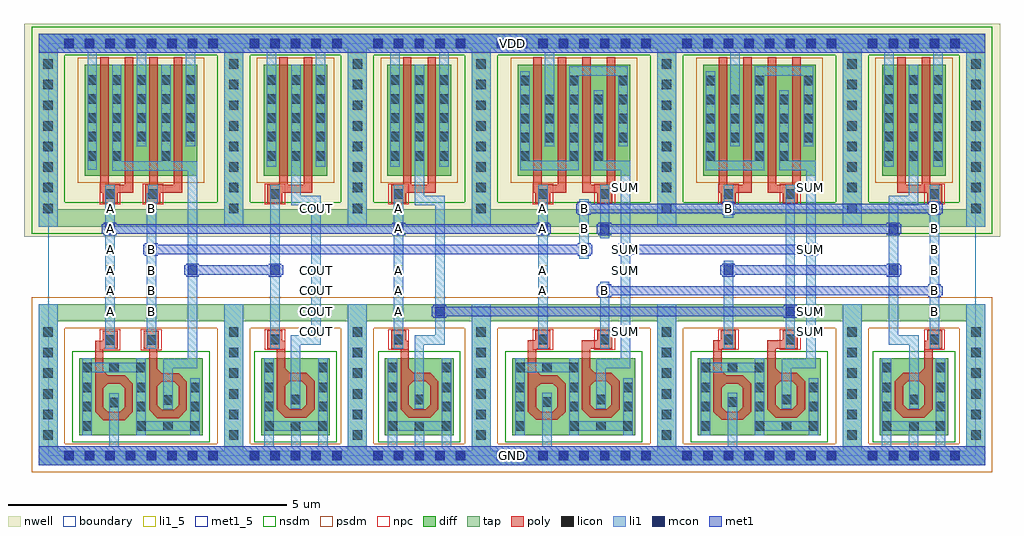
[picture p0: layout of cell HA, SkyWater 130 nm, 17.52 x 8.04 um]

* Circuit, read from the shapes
.subckt HA A B COUT GND SUM VDD
XM1 n1 A GND GND sky130_fd_pr__nfet_01v8 w=2.6 l=0.1468
XM2 n1 B n2 GND sky130_fd_pr__nfet_01v8 w=2.56 l=0.148
XM3 GND n2 COUT GND sky130_fd_pr__nfet_01v8 w=2.56 l=0.1475
XM4 GND A n3 GND sky130_fd_pr__nfet_01v8 w=2.56 l=0.1466
XM5 n4 A GND GND sky130_fd_pr__nfet_01v8 w=2.6 l=0.1471
XM6 n4 B SUM GND sky130_fd_pr__nfet_01v8 w=2.56 l=0.1478
XM7 n5 n6 GND GND sky130_fd_pr__nfet_01v8 w=2.6 l=0.148
XM8 n5 n3 SUM GND sky130_fd_pr__nfet_01v8 w=2.56 l=0.1468
XM9 GND B n6 GND sky130_fd_pr__nfet_01v8 w=2.56 l=0.1469
XM10 n2 A VDD VDD sky130_fd_pr__pfet_01v8 w=2 l=0.15 m=2
XM11 n2 B VDD VDD sky130_fd_pr__pfet_01v8 w=2 l=0.15 m=2
XM12 COUT n2 VDD VDD sky130_fd_pr__pfet_01v8 w=2 l=0.15 m=2
XM13 n3 A VDD VDD sky130_fd_pr__pfet_01v8 w=2 l=0.15 m=2
XM14 VDD A n7 VDD sky130_fd_pr__pfet_01v8 w=2 l=0.15 m=2
XM15 SUM n6 n7 VDD sky130_fd_pr__pfet_01v8 w=2 l=0.15 m=2
XM16 VDD B n8 VDD sky130_fd_pr__pfet_01v8 w=2 l=0.15 m=2
XM17 SUM n3 n8 VDD sky130_fd_pr__pfet_01v8 w=2 l=0.15 m=2
XM18 n6 B VDD VDD sky130_fd_pr__pfet_01v8 w=2 l=0.15 m=2
.ends

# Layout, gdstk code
from math import pi, radians
import gdstk
lib = gdstk.Library(unit=1e-6, precision=1e-09)
def R(c, l, rs):  # rectangles x0, y0, x1, y1
    for r in rs: c.add(gdstk.rectangle(r[:2], r[2:], *l))
def A(c, l, x, y, w, h, nx, ny, dx, dy):  # array of equal rectangles
    R(c, l, [(x+i*dx, y+j*dy, x+i*dx+w, y+j*dy+h) for i in range(nx) for j in range(ny)])
def P(c, l, *ps):  # polygons
    for p in ps: c.add(gdstk.Polygon(p, *l))
nwell = (64, 20)
diff = (65, 20)
tap = (65, 44)
poly = (66, 20)
licon = (66, 44)
li1_5 = (67, 5)
li1 = (67, 20)
mcon = (67, 44)
met1_5 = (68, 5)
met1 = (68, 20)
nsdm = (93, 44)
psdm = (94, 20)
npc = (95, 20)
boundary = (235, 4)

diff_ring_side = lib.new_cell('diff_ring_side')
R(diff_ring_side, nwell, [(-0.435,3.93,0.435,7.75)])
R(diff_ring_side, tap, [(-0.17,-0.17,0.17,2.72), (-0.17,4.11,0.17,7.57)])
A(diff_ring_side, licon, -0.085, 0.285, 0.17, 0.17, 1, 6, 0, 0.37)
A(diff_ring_side, licon, -0.085, 4.355, 0.17, 0.17, 1, 8, 0, 0.37)
R(diff_ring_side, li1, [(-0.17,-0.17,0.17,2.72), (-0.17,4.11,0.17,7.57)])
R(diff_ring_side, met1, [(-0.17,-0.17,0.17,0.17), (-0.17,7.23,0.17,7.57)])
R(diff_ring_side, nsdm, [(-0.295,3.985,0.295,7.695)])
R(diff_ring_side, psdm, [(-0.295,-0.295,0.295,2.845)])

poly_li1_contact = lib.new_cell('poly_li1_contact')
R(poly_li1_contact, poly, [(-0.16,-0.14,0.17,0.13)])
R(poly_li1_contact, licon, [(-0.08,-0.09,0.09,0.08)])
R(poly_li1_contact, li1, [(-0.16,-0.09,0.17,0.08)])
R(poly_li1_contact, npc, [(-0.18,-0.19,0.19,0.18)])

pmos2 = lib.new_cell('pmos2')
R(pmos2, nwell, [(0.26,-2.18,1.76,0.18)])
R(pmos2, diff, [(0.44,-2,1.58,0)])
R(pmos2, poly, [(0.72,-2.305,1.31,-2.155), (0.72,-2.155,0.87,0.13), (1.16,-2.155,1.31,0.13)])
A(pmos2, licon, 0.49, -1.38, 0.17, 0.17, 3, 4, 0.44, 0.34)
R(pmos2, li1, [(0.49,-1.465,0.66,0.21), (0.93,-1.465,1.1,0), (1.37,-1.465,1.54,0.21)])
R(pmos2, psdm, [(0.315,-2.125,1.705,0.125)])

nmos_top = lib.new_cell('nmos_top')
R(nmos_top, diff, [(0,0,1.23,1.38)])
R(nmos_top, poly, [(0.42,0.31,0.8,0.46), (0.27,0.46,0.42,0.965), (0.8,0.46,0.95,0.965), (0.42,0.965,0.95,1.115), (0.8,1.115,0.95,1.54)])
P(nmos_top, poly, [(0.72,1.115),(0.8,1.115),(0.8,1.195)],
  [(0.27,0.965),(0.42,0.965),(0.42,1.115)],
  [(0.42,0.885),(0.42,0.965),(0.5,0.965)],
  [(0.72,0.965),(0.8,0.965),(0.8,0.885)],
  [(0.42,0.54),(0.42,0.46),(0.5,0.46)],
  [(0.72,0.46),(0.8,0.46),(0.8,0.54)],
  [(0.27,0.46),(0.42,0.46),(0.42,0.31)],
  [(0.8,0.31),(0.8,0.46),(0.95,0.46)])
R(nmos_top, licon, [(0.04,0.08,0.21,0.25), (0.53,0.08,0.7,0.25), (1.01,0.08,1.18,0.25), (0.04,0.43,0.21,0.6), (1.01,0.43,1.18,0.6), (0.53,0.55,0.7,0.72), (0.04,0.77,0.21,0.94), (1.01,0.77,1.18,0.94), (0.04,1.13,0.21,1.3), (1.01,1.13,1.18,1.3)])
R(nmos_top, li1, [(0.04,0,0.21,0.08), (1.01,0,1.18,0.08), (0.04,0.08,1.18,0.25), (0.04,0.25,0.21,1.38), (1.01,0.25,1.18,1.38), (0.53,0.47,0.7,0.805)])
R(nmos_top, nsdm, [(-0.125,-0.125,1.355,1.505)])

invx1_pcell = lib.new_cell('invx1_pcell')
R(invx1_pcell, nwell, [(-0.435,3.93,2.655,7.75)])
A(invx1_pcell, diff, 0.59, 5.295, 0.17, 0.17, 3, 1, 0.44, 0)
R(invx1_pcell, tap, [(0.17,-0.17,2.05,0.085), (0.17,2.41,2.05,2.72), (0.17,4.11,2.05,4.42), (0.17,7.315,2.05,7.57)])
R(invx1_pcell, poly, [(0.775,1.905,0.925,2.065)])
A(invx1_pcell, licon, 0.285, -0.085, 0.17, 0.17, 5, 2, 0.37, 7.4)
A(invx1_pcell, licon, 0.59, 5.295, 0.17, 0.17, 3, 1, 0.44, 0)
R(invx1_pcell, li1, [(0.17,-0.17,2.05,0.17), (0.545,0.17,0.715,0.45), (1.03,0.17,1.2,0.455), (1.515,0.17,1.685,0.45), (1.025,1.165,1.195,1.995), (1.025,1.995,1.565,2.165), (1.395,2.165,1.565,4.495), (0.655,2.245,0.825,4.54), (1.03,4.495,1.565,4.665), (1.03,4.665,1.2,5.555), (0.59,5.185,0.76,5.555), (1.47,5.185,1.64,5.555), (0.17,7.23,2.05,7.57)])
A(invx1_pcell, mcon, 0.285, -0.085, 0.17, 0.17, 5, 2, 0.37, 7.4)
R(invx1_pcell, met1, [(0.17,-0.17,2.05,0.17), (0.17,7.23,2.05,7.57)])
R(invx1_pcell, nsdm, [(0.045,3.985,2.175,4.545), (0.045,7.19,2.175,7.695)])
R(invx1_pcell, psdm, [(0.045,-0.295,2.175,0.21), (0.045,2.285,2.175,2.845), (0.465,5.17,1.765,5.59)])
invx1_pcell.add(gdstk.Reference(poly_li1_contact, (0.735,2.08), rotation=pi/2))
invx1_pcell.add(gdstk.Reference(poly_li1_contact, (0.745,4.705), rotation=3*pi/2))
invx1_pcell.add(gdstk.Reference(pmos2, (0.1,7.02)))
invx1_pcell.add(gdstk.Reference(nmos_top, (1.725,0.37), rotation=pi, x_reflection=True))
invx1_pcell.add(gdstk.Reference(diff_ring_side, (0,0)))
invx1_pcell.add(gdstk.Reference(diff_ring_side, (2.22,0)))

li1_m1_contact = lib.new_cell('li1_M1_contact')
R(li1_m1_contact, li1, [(-0.085,-0.165,0.085,0.165)])
R(li1_m1_contact, mcon, [(-0.085,-0.085,0.085,0.085)])
R(li1_m1_contact, met1, [(-0.115,-0.115,0.115,-0.085), (-0.265,-0.085,0.145,0.085), (-0.115,0.085,0.115,0.115)])

pmos2_1 = lib.new_cell('pmos2_1')
R(pmos2_1, nwell, [(0.26,-2.175,1.76,0.185)])
R(pmos2_1, diff, [(0.44,-1.995,1.58,0.005)])
R(pmos2_1, poly, [(0.72,-2.3,1.31,-2.15), (0.72,-2.15,0.87,0.135), (1.16,-2.15,1.31,0.135)])
A(pmos2_1, licon, 0.49, -1.385, 0.17, 0.17, 3, 3, 0.44, 0.34)
A(pmos2_1, li1, 0.49, -1.465, 0.17, 1.01, 3, 1, 0.44, 0)
R(pmos2_1, psdm, [(0.315,-2.12,1.705,0.13)])

nmos_top_trim1 = lib.new_cell('nmos_top_trim1')
R(nmos_top_trim1, diff, [(0,0,1.24,1.38)])
R(nmos_top_trim1, poly, [(0.43,0.31,0.81,0.46), (0.28,0.46,0.43,0.965), (0.81,0.46,0.96,0.965), (0.43,0.965,0.96,1.115), (0.81,1.115,0.96,1.545)])
P(nmos_top_trim1, poly, [(0.73,1.115),(0.81,1.115),(0.81,1.195)],
  [(0.28,0.965),(0.43,0.965),(0.43,1.115)],
  [(0.43,0.885),(0.43,0.965),(0.51,0.965)],
  [(0.73,0.965),(0.81,0.965),(0.81,0.885)],
  [(0.43,0.54),(0.43,0.46),(0.51,0.46)],
  [(0.73,0.46),(0.81,0.46),(0.81,0.54)],
  [(0.28,0.46),(0.43,0.46),(0.43,0.31)],
  [(0.81,0.31),(0.81,0.46),(0.96,0.46)])
A(nmos_top_trim1, licon, 0.05, 0.08, 0.17, 0.17, 3, 1, 0.485, 0)
R(nmos_top_trim1, licon, [(0.05,0.43,0.22,0.6), (1.02,0.43,1.19,0.6), (0.535,0.55,0.705,0.72), (0.05,0.77,0.22,0.94), (1.02,0.77,1.19,0.94), (1.02,1.13,1.19,1.3)])
R(nmos_top_trim1, li1, [(0.05,0,0.22,0.08), (1.02,0,1.19,0.08), (0.05,0.08,1.19,0.25), (0.05,0.25,0.22,1.02), (1.02,0.25,1.19,1.38), (0.535,0.47,0.705,0.805)])
R(nmos_top_trim1, nsdm, [(-0.125,-0.125,1.365,1.505)])

nmos_bottom = lib.new_cell('nmos_bottom')
R(nmos_bottom, diff, [(0,0,1.24,1.38)])
R(nmos_bottom, poly, [(0.43,0.27,0.81,0.42), (0.28,0.42,0.43,0.925), (0.81,0.42,0.96,0.925), (0.43,0.925,0.96,1.075), (0.81,1.075,0.96,1.51)])
P(nmos_bottom, poly, [(0.73,1.075),(0.81,1.075),(0.81,1.155)],
  [(0.28,0.925),(0.43,0.925),(0.43,1.075)],
  [(0.43,0.845),(0.43,0.925),(0.51,0.925)],
  [(0.73,0.925),(0.81,0.925),(0.81,0.845)],
  [(0.43,0.5),(0.43,0.42),(0.51,0.42)],
  [(0.73,0.42),(0.81,0.42),(0.81,0.5)],
  [(0.28,0.42),(0.43,0.42),(0.43,0.27)],
  [(0.81,0.27),(0.81,0.42),(0.96,0.42)])
A(nmos_bottom, licon, 0.05, 1.13, 0.17, 0.17, 3, 1, 0.485, 0)
R(nmos_bottom, licon, [(0.05,0.08,0.22,0.25), (1.02,0.08,1.19,0.25), (0.05,0.43,0.22,0.6), (1.02,0.43,1.19,0.6), (0.535,0.505,0.705,0.675), (0.05,0.77,0.22,0.94), (1.02,0.77,1.19,0.94)])
R(nmos_bottom, li1, [(0.05,0,0.22,1.13), (1.02,0,1.19,1.13), (0.535,0.425,0.705,0.755), (0.05,1.13,1.19,1.3), (0.05,1.3,0.22,1.38), (1.02,1.3,1.19,1.38)])
R(nmos_bottom, nsdm, [(-0.125,-0.125,1.365,1.505)])

xor2x1_pcell = lib.new_cell('xor2X1_pcell')
R(xor2x1_pcell, nwell, [(2.655,3.93,8.445,4.125), (2.64,4.125,5.13,4.84), (5.97,4.125,8.46,4.84), (2.64,4.84,2.695,7.195), (5.075,4.84,5.13,7.195), (5.97,4.84,6.025,7.2), (8.405,4.84,8.46,7.2), (2.925,6.65,3.095,6.82), (2.64,7.195,5.13,7.23), (5.97,7.2,8.46,7.23), (2.39,7.23,5.38,7.245), (5.72,7.23,8.71,7.245), (2.39,7.245,5.395,7.315), (5.705,7.245,8.71,7.315), (2.39,7.315,8.71,7.57), (2.64,7.57,5.13,7.66), (5.97,7.57,8.46,7.66), (2.655,7.66,8.445,7.75)])
A(xor2x1_pcell, diff, 2.925, 6.65, 0.17, 0.17, 3, 1, 0.88, 0)
A(xor2x1_pcell, diff, 6.255, 6.65, 0.17, 0.17, 3, 1, 0.88, 0)
R(xor2x1_pcell, diff, [(2.925,5.29,3.095,5.46), (3.805,5.29,3.975,5.46), (4.245,5.29,4.415,5.46), (6.255,5.29,6.425,5.46), (7.135,5.29,7.305,5.46), (7.575,5.29,7.745,5.46)])
R(xor2x1_pcell, tap, [(2.39,-0.17,5.38,-0.085), (5.72,-0.17,8.71,-0.085), (2.39,-0.085,5.395,0.085), (5.705,-0.085,8.71,0.085), (2.39,2.41,5.395,2.72), (5.705,2.41,8.71,2.72), (2.39,4.11,5.395,4.42), (5.705,4.11,8.71,4.42), (2.39,7.315,8.71,7.57)])
R(xor2x1_pcell, poly, [(3.06,1.88,3.21,1.92), (6.39,1.88,6.54,1.92), (4.03,1.915,4.18,1.92), (7.36,1.915,7.51,1.92), (3.06,1.92,3.195,2.07), (4.03,1.92,4.305,2.07), (6.39,1.92,6.525,2.07), (7.36,1.92,7.635,2.07)])
A(xor2x1_pcell, licon, 2.505, -0.085, 0.17, 0.17, 8, 2, 0.37, 7.4)
A(xor2x1_pcell, licon, 5.835, -0.085, 0.17, 0.17, 8, 2, 0.37, 7.4)
A(xor2x1_pcell, licon, 2.925, 6.65, 0.17, 0.17, 3, 1, 0.88, 0)
A(xor2x1_pcell, licon, 6.255, 6.65, 0.17, 0.17, 3, 1, 0.88, 0)
R(xor2x1_pcell, licon, [(2.925,5.29,3.095,5.46), (3.805,5.29,3.975,5.46), (4.245,5.29,4.415,5.46), (6.255,5.29,6.425,5.46), (7.135,5.29,7.305,5.46), (7.575,5.29,7.745,5.46)])
R(xor2x1_pcell, li1, [(2.39,-0.17,5.38,-0.14), (5.72,-0.17,8.71,-0.14), (2.39,-0.14,5.395,0.17), (5.705,-0.14,8.71,0.17), (3.315,0.17,3.485,0.875), (6.645,0.17,6.815,0.875), (4.285,1.085,4.455,1.57), (7.615,1.085,7.785,1.57), (4.285,1.57,4.895,1.74), (7.615,1.57,8.225,1.74), (4.725,1.74,4.895,5.12), (8.055,1.74,8.225,5.12), (6.575,2.225,6.745,3.17), (3.245,2.24,3.415,4.535), (7.685,2.245,7.855,4.535), (4.355,2.25,4.525,3.085), (4.355,4.125,4.525,4.535), (6.575,4.31,6.745,4.535), (2.925,5.12,3.975,5.29), (4.245,5.12,4.895,5.29), (6.255,5.12,7.305,5.29), (7.575,5.12,8.225,5.29), (2.925,5.29,3.095,5.55), (3.805,5.29,3.975,5.55), (4.245,5.29,4.415,5.55), (6.255,5.29,6.425,5.55), (7.135,5.29,7.305,5.55), (7.575,5.29,7.745,5.55), (2.925,6.56,3.095,6.9), (3.365,6.56,3.535,7.23), (3.805,6.56,3.975,6.82), (4.685,6.56,4.855,6.82), (6.255,6.56,6.425,6.9), (6.695,6.56,6.865,7.23), (7.135,6.56,7.305,6.82), (8.015,6.56,8.185,6.82), (3.805,6.82,4.855,6.99), (7.135,6.82,8.185,6.99), (2.39,7.23,5.38,7.245), (5.72,7.23,8.71,7.245), (2.39,7.245,5.395,7.315), (5.705,7.245,8.71,7.315), (2.39,7.315,8.71,7.57)])
A(xor2x1_pcell, mcon, 2.505, -0.085, 0.17, 0.17, 8, 2, 0.37, 7.4)
A(xor2x1_pcell, mcon, 5.835, -0.085, 0.17, 0.17, 8, 2, 0.37, 7.4)
R(xor2x1_pcell, met1, [(2.39,-0.17,5.38,-0.14), (5.72,-0.17,8.71,-0.14), (2.39,-0.14,5.395,0.17), (5.705,-0.14,8.71,0.17), (1.575,2.505,7.56,2.675), (4.525,2.875,10.23,3.045), (6.86,3.245,9.735,3.415), (4.905,3.615,7.93,3.785), (0.935,3.985,3.115,4.155), (4.695,3.985,9.735,4.155), (6.89,4.355,10.25,4.525), (2.39,7.23,5.38,7.245), (5.72,7.23,8.71,7.245), (2.39,7.245,5.395,7.315), (5.705,7.245,8.71,7.315), (2.39,7.315,8.71,7.57)])
R(xor2x1_pcell, nsdm, [(2.265,3.985,8.835,4.545), (2.265,7.19,8.835,7.695)])
A(xor2x1_pcell, psdm, 2.8, 6.525, 0.42, 0.42, 3, 1, 0.88, 0)
A(xor2x1_pcell, psdm, 6.13, 6.525, 0.42, 0.42, 3, 1, 0.88, 0)
R(xor2x1_pcell, psdm, [(2.265,-0.295,8.835,0.21), (2.265,2.285,8.835,2.845), (2.8,5.165,3.22,5.585), (3.68,5.165,4.54,5.585), (6.13,5.165,6.55,5.585), (7.01,5.165,7.87,5.585)])
xor2x1_pcell.add(gdstk.Reference(diff_ring_side, (2.22,0)))
xor2x1_pcell.add(gdstk.Reference(invx1_pcell, (0,0)))
xor2x1_pcell.add(gdstk.Reference(li1_m1_contact, (0.74,4.07), rotation=pi))
xor2x1_pcell.add(gdstk.Reference(li1_m1_contact, (1.48,2.59), rotation=pi))
xor2x1_pcell.add(gdstk.Reference(poly_li1_contact, (3.335,2.09), rotation=3*pi/2))
xor2x1_pcell.add(gdstk.Reference(poly_li1_contact, (3.335,4.705), rotation=3*pi/2))
xor2x1_pcell.add(gdstk.Reference(pmos2_1, (3.315,7.015)))
xor2x1_pcell.add(gdstk.Reference(pmos2_1, (2.435,7.015)))
xor2x1_pcell.add(gdstk.Reference(nmos_top_trim1, (4.99,0.37), rotation=pi, x_reflection=True))
xor2x1_pcell.add(gdstk.Reference(nmos_bottom, (4.02,0.37), rotation=pi, x_reflection=True))
xor2x1_pcell.add(gdstk.Reference(li1_m1_contact, (3.33,4.07)))
xor2x1_pcell.add(gdstk.Reference(poly_li1_contact, (4.445,4.705), rotation=3*pi/2))
xor2x1_pcell.add(gdstk.Reference(poly_li1_contact, (4.445,2.09), rotation=3*pi/2))
xor2x1_pcell.add(gdstk.Reference(li1_m1_contact, (4.44,2.96), rotation=pi))
xor2x1_pcell.add(gdstk.Reference(li1_m1_contact, (4.81,3.7), rotation=pi))
xor2x1_pcell.add(gdstk.Reference(li1_m1_contact, (4.44,4.07), rotation=pi))
xor2x1_pcell.add(gdstk.Reference(diff_ring_side, (5.55,0)))
xor2x1_pcell.add(gdstk.Reference(poly_li1_contact, (6.665,4.705), rotation=3*pi/2))
xor2x1_pcell.add(gdstk.Reference(poly_li1_contact, (6.665,2.09), rotation=3*pi/2))
xor2x1_pcell.add(gdstk.Reference(pmos2_1, (6.645,7.015)))
xor2x1_pcell.add(gdstk.Reference(pmos2_1, (5.765,7.015)))
xor2x1_pcell.add(gdstk.Reference(nmos_top_trim1, (8.32,0.37), rotation=pi, x_reflection=True))
xor2x1_pcell.add(gdstk.Reference(nmos_bottom, (7.35,0.37), rotation=pi, x_reflection=True))
xor2x1_pcell.add(gdstk.Reference(li1_m1_contact, (6.66,3.33), rotation=pi))
xor2x1_pcell.add(gdstk.Reference(li1_m1_contact, (6.66,4.44), rotation=pi))
xor2x1_pcell.add(gdstk.Reference(poly_li1_contact, (7.775,4.705), rotation=3*pi/2))
xor2x1_pcell.add(gdstk.Reference(poly_li1_contact, (7.775,2.09), rotation=3*pi/2))
xor2x1_pcell.add(gdstk.Reference(li1_m1_contact, (8.14,3.7)))
xor2x1_pcell.add(gdstk.Reference(li1_m1_contact, (7.77,2.59)))
xor2x1_pcell.add(gdstk.Reference(diff_ring_side, (8.88,0)))
xor2x1_pcell.add(gdstk.Reference(invx1_pcell, (11.1,0), rotation=pi, x_reflection=True))
xor2x1_pcell.add(gdstk.Reference(li1_m1_contact, (10.36,2.96)))
xor2x1_pcell.add(gdstk.Reference(li1_m1_contact, (9.62,4.07)))
xor2x1_pcell.add(gdstk.Reference(li1_m1_contact, (10.36,4.44)))
xor2x1_pcell.add(gdstk.Reference(li1_m1_contact, (9.62,3.33)))

nand2x1_pcell = lib.new_cell('nand2x1_pcell')
R(nand2x1_pcell, nwell, [(0.435,3.93,2.895,7.75)])
R(nand2x1_pcell, diff, [(0.705,5.295,0.875,5.465), (1.145,5.295,1.315,5.465), (2.025,5.295,2.195,5.465)])
R(nand2x1_pcell, tap, [(0.17,-0.17,3.16,-0.15), (0.155,-0.15,3.175,0.085), (0.155,2.4,0.17,2.41), (3.16,2.4,3.175,2.41), (0.155,2.41,3.175,2.71), (0.17,2.71,3.16,2.72), (0.17,4.11,3.16,4.42), (0.17,7.315,3.16,7.57)])
R(nand2x1_pcell, poly, [(0.84,1.875,0.99,2.065), (1.81,1.91,1.96,1.915)])
A(nand2x1_pcell, licon, 0.285, -0.085, 0.17, 0.17, 8, 2, 0.37, 7.4)
R(nand2x1_pcell, licon, [(0.705,5.295,0.875,5.465), (1.145,5.295,1.315,5.465), (2.025,5.295,2.195,5.465)])
R(nand2x1_pcell, li1, [(0.17,-0.17,3.16,-0.15), (0.155,-0.15,3.175,0.16), (0.17,0.16,3.16,0.17), (1.095,0.17,1.265,0.835), (2.065,1.165,2.235,1.57), (2.065,1.57,2.675,1.74), (2.505,1.74,2.675,5.115), (1.025,2.165,1.195,4.54), (1.765,2.165,1.785,2.205), (1.765,2.205,1.935,4.54), (1.765,4.54,1.805,4.71), (1.145,5.115,2.675,5.285), (0.705,5.135,0.875,5.555), (1.145,5.285,1.315,5.555), (2.025,5.285,2.195,5.555), (0.17,7.23,3.16,7.57)])
A(nand2x1_pcell, mcon, 0.285, -0.085, 0.17, 0.17, 8, 2, 0.37, 7.4)
R(nand2x1_pcell, met1, [(0.17,-0.17,3.16,-0.15), (0.155,-0.15,3.175,0.16), (0.17,0.16,3.16,0.17), (0.17,7.23,3.16,7.57)])
R(nand2x1_pcell, nsdm, [(0.045,3.985,3.285,4.545), (0.045,7.19,3.285,7.695)])
R(nand2x1_pcell, psdm, [(0.045,-0.295,3.285,-0.275), (0.03,-0.275,3.3,0.21), (0.03,2.275,0.295,2.285), (3.035,2.275,3.3,2.285), (0.03,2.285,3.3,2.835), (0.045,2.835,3.285,2.845), (0.58,5.17,1.44,5.59), (1.9,5.17,2.32,5.59)])
nand2x1_pcell.add(gdstk.Reference(diff_ring_side, (0,0)))
nand2x1_pcell.add(gdstk.Reference(nmos_bottom, (1.8,0.365), rotation=pi, x_reflection=True))
nand2x1_pcell.add(gdstk.Reference(pmos2, (0.215,7.02)))
nand2x1_pcell.add(gdstk.Reference(poly_li1_contact, (1.115,4.705), rotation=3*pi/2))
nand2x1_pcell.add(gdstk.Reference(poly_li1_contact, (1.115,2.085), rotation=3*pi/2))
nand2x1_pcell.add(gdstk.Reference(nmos_top_trim1, (2.77,0.365), rotation=pi, x_reflection=True))
nand2x1_pcell.add(gdstk.Reference(pmos2, (1.095,7.02)))
nand2x1_pcell.add(gdstk.Reference(poly_li1_contact, (1.845,2.075), rotation=pi/2))
nand2x1_pcell.add(gdstk.Reference(poly_li1_contact, (1.885,4.705), rotation=3*pi/2))
nand2x1_pcell.add(gdstk.Reference(diff_ring_side, (3.33,0)))

and2x1_pcell = lib.new_cell('and2x1_pcell')
R(and2x1_pcell, met1, [(2.735,3.245,3.805,3.415)])
and2x1_pcell.add(gdstk.Reference(nand2x1_pcell, (0,0)))
and2x1_pcell.add(gdstk.Reference(li1_m1_contact, (4.07,3.33)))
and2x1_pcell.add(gdstk.Reference(li1_m1_contact, (2.59,3.33), rotation=pi))
and2x1_pcell.add(gdstk.Reference(invx1_pcell, (3.33,0)))

c_ha = lib.new_cell('HA')
R(c_ha, nwell, [(0.285,7.315,0.455,7.485)])
A(c_ha, li1_5, 4.725, 2.135, 0.17, 0.17, 1, 4, 0, 0.37)
A(c_ha, li1_5, 1.025, 2.505, 0.17, 0.17, 1, 6, 0, 0.37)
A(c_ha, li1_5, 1.765, 2.505, 0.17, 0.17, 1, 4, 0, 0.37)
A(c_ha, li1_5, 6.205, 2.505, 0.17, 0.17, 1, 3, 0, 0.37)
A(c_ha, li1_5, 13.605, 2.505, 0.17, 0.17, 1, 3, 0, 1.11)
A(c_ha, li1_5, 15.825, 2.505, 0.17, 0.17, 1, 6, 0, 0.37)
A(c_ha, li1_5, 9.535, 3.615, 0.17, 0.17, 1, 3, 0, 0.37)
R(c_ha, li1_5, [(10.275,2.135,10.445,2.305), (13.605,2.135,13.775,2.305), (8.795,2.875,8.965,3.045), (9.905,2.875,10.075,3.045), (8.795,3.245,8.965,3.415), (10.275,3.245,10.445,3.415), (10.275,3.615,10.445,3.785), (6.205,3.985,6.375,4.155), (8.795,3.985,8.965,4.155), (1.765,4.355,1.935,4.525), (4.725,4.355,4.895,4.525), (6.205,4.355,6.375,4.525), (8.795,4.355,8.965,4.525), (12.125,4.355,12.295,4.525), (10.275,4.725,10.445,4.895)])
A(c_ha, li1, 4.725, 2.135, 0.17, 0.17, 1, 4, 0, 0.37)
A(c_ha, li1, 1.025, 2.505, 0.17, 0.17, 1, 6, 0, 0.37)
A(c_ha, li1, 1.765, 2.505, 0.17, 0.17, 1, 4, 0, 0.37)
A(c_ha, li1, 6.205, 2.505, 0.17, 0.17, 1, 3, 0, 0.37)
A(c_ha, li1, 13.605, 2.505, 0.17, 0.17, 1, 3, 0, 1.11)
A(c_ha, li1, 15.825, 2.505, 0.17, 0.17, 1, 6, 0, 0.37)
R(c_ha, li1, [(10.275,2.135,10.445,2.305), (13.605,2.135,13.775,2.305), (8.795,2.875,8.965,3.045), (9.905,2.875,10.075,3.045), (8.795,3.245,8.965,3.415), (10.275,3.245,10.445,3.415), (9.535,3.615,9.705,3.785), (10.275,3.615,10.445,3.785), (9.535,3.865,9.705,4.275), (6.205,3.985,6.375,4.155), (8.795,3.985,8.965,4.155), (1.765,4.355,1.935,4.525), (4.725,4.355,4.895,4.525), (6.205,4.355,6.375,4.525), (8.795,4.355,8.965,4.525), (9.535,4.355,9.705,4.525), (12.125,4.355,12.295,4.525), (10.275,4.725,10.445,4.895)])
R(c_ha, met1_5, [(-0.17,-0.17,16.82,0.17), (-0.17,7.23,16.82,7.57)])
R(c_ha, met1, [(-0.17,-0.17,16.82,0.17), (2.115,3.615,9.355,3.785), (1.375,3.985,6.145,4.155), (9.885,4.355,12.065,4.525), (-0.17,7.23,16.82,7.57)])
R(c_ha, boundary, [(0,0,16.65,7.4)])
c_ha.add(gdstk.Reference(xor2x1_pcell, (5.55,0)))
c_ha.add(gdstk.Reference(li1_m1_contact, (9.62,4.44), rotation=pi))
c_ha.add(gdstk.Reference(li1_m1_contact, (9.62,3.7)))
c_ha.add(gdstk.Reference(li1_m1_contact, (1.11,4.07), rotation=pi))
c_ha.add(gdstk.Reference(li1_m1_contact, (1.85,3.7), rotation=pi))
c_ha.add(gdstk.Reference(and2x1_pcell, (0,0)))
c_ha.add(gdstk.Label('SUM', (13.69,3.7), layer=67, texttype=5))
c_ha.add(gdstk.Label('SUM', (10.36,3.7), layer=67, texttype=5))
c_ha.add(gdstk.Label('SUM', (13.69,2.22), layer=67, texttype=5))
c_ha.add(gdstk.Label('SUM', (13.69,2.59), layer=67, texttype=5))
c_ha.add(gdstk.Label('SUM', (13.69,4.81), layer=67, texttype=5))
c_ha.add(gdstk.Label('SUM', (10.36,3.33), layer=67, texttype=5))
c_ha.add(gdstk.Label('SUM', (10.36,2.22), layer=67, texttype=5))
c_ha.add(gdstk.Label('SUM', (10.36,4.81), layer=67, texttype=5))
c_ha.add(gdstk.Label('COUT', (4.81,2.59), layer=67, texttype=5))
c_ha.add(gdstk.Label('COUT', (4.81,2.22), layer=67, texttype=5))
c_ha.add(gdstk.Label('COUT', (4.81,3.33), layer=67, texttype=5))
c_ha.add(gdstk.Label('COUT', (4.81,4.44), layer=67, texttype=5))
c_ha.add(gdstk.Label('COUT', (4.81,2.96), layer=67, texttype=5))
c_ha.add(gdstk.Label('A', (1.11,4.07), layer=67, texttype=5))
c_ha.add(gdstk.Label('A', (1.11,4.44), layer=67, texttype=5))
c_ha.add(gdstk.Label('A', (1.11,3.7), layer=67, texttype=5))
c_ha.add(gdstk.Label('A', (1.11,3.33), layer=67, texttype=5))
c_ha.add(gdstk.Label('A', (1.11,2.96), layer=67, texttype=5))
c_ha.add(gdstk.Label('A', (1.11,2.59), layer=67, texttype=5))
c_ha.add(gdstk.Label('A', (6.29,4.44), layer=67, texttype=5))
c_ha.add(gdstk.Label('A', (6.29,4.07), layer=67, texttype=5))
c_ha.add(gdstk.Label('A', (6.29,3.33), layer=67, texttype=5))
c_ha.add(gdstk.Label('A', (6.29,2.96), layer=67, texttype=5))
c_ha.add(gdstk.Label('A', (6.29,2.59), layer=67, texttype=5))
c_ha.add(gdstk.Label('A', (8.88,4.44), layer=67, texttype=5))
c_ha.add(gdstk.Label('A', (8.88,4.07), layer=67, texttype=5))
c_ha.add(gdstk.Label('A', (8.88,3.33), layer=67, texttype=5))
c_ha.add(gdstk.Label('A', (8.88,2.96), layer=67, texttype=5))
c_ha.add(gdstk.Label('B', (1.85,3.7), layer=67, texttype=5))
c_ha.add(gdstk.Label('B', (1.85,3.33), layer=67, texttype=5))
c_ha.add(gdstk.Label('B', (1.85,2.96), layer=67, texttype=5))
c_ha.add(gdstk.Label('B', (1.85,2.59), layer=67, texttype=5))
c_ha.add(gdstk.Label('B', (1.85,4.44), layer=67, texttype=5))
c_ha.add(gdstk.Label('B', (9.62,3.7), layer=67, texttype=5))
c_ha.add(gdstk.Label('B', (9.62,4.07), layer=67, texttype=5))
c_ha.add(gdstk.Label('B', (9.62,4.44), layer=67, texttype=5))
c_ha.add(gdstk.Label('B', (15.91,3.7), layer=67, texttype=5))
c_ha.add(gdstk.Label('B', (9.99,2.96), layer=67, texttype=5))
c_ha.add(gdstk.Label('B', (15.91,2.96), layer=67, texttype=5))
c_ha.add(gdstk.Label('B', (15.91,3.33), layer=67, texttype=5))
c_ha.add(gdstk.Label('B', (15.91,2.59), layer=67, texttype=5))
c_ha.add(gdstk.Label('B', (15.91,4.07), layer=67, texttype=5))
c_ha.add(gdstk.Label('B', (15.91,4.44), layer=67, texttype=5))
c_ha.add(gdstk.Label('B', (12.21,4.44), layer=67, texttype=5))
c_ha.add(gdstk.Label('VDD', (8.325,7.4), layer=68, texttype=5))
c_ha.add(gdstk.Label('GND', (8.325,0), layer=68, texttype=5))

lib.write_gds('HA.gds')
